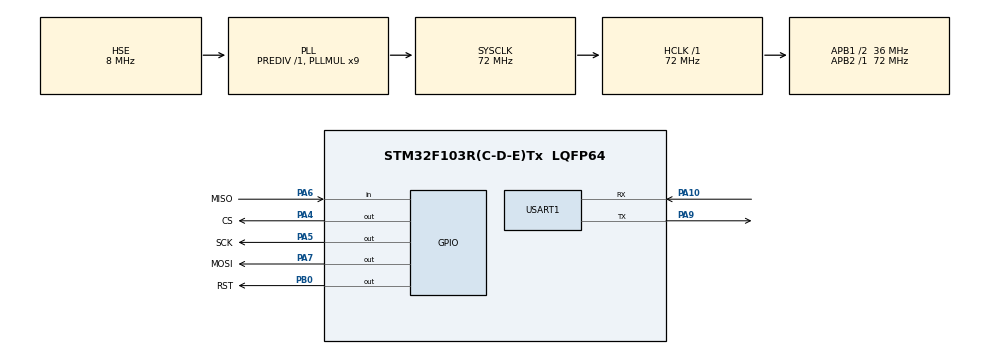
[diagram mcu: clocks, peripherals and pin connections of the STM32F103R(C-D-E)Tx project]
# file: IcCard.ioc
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Mcu.Family=STM32F1
Mcu.Name=STM32F103R(C-D-E)Tx
Mcu.Package=LQFP64
NVIC.PriorityGroup=NVIC_PRIORITYGROUP_4
PA10.Mode=Asynchronous
PA10.Signal=USART1_RX
PA13.Mode=Serial_Wire
PA13.Signal=SYS_JTMS-SWDIO
PA14.Mode=Serial_Wire
PA14.Signal=SYS_JTCK-SWCLK
PA4.GPIO_Label=CS
PA4.GPIO_Speed=GPIO_SPEED_FREQ_HIGH
PA4.PinState=GPIO_PIN_RESET
PA4.Signal=GPIO_Output
PA5.GPIO_Label=SCK
PA5.GPIO_Speed=GPIO_SPEED_FREQ_HIGH
PA5.Signal=GPIO_Output
PA6.GPIO_Label=MISO
PA6.Signal=GPIO_Input
PA7.GPIO_Label=MOSI
PA7.GPIO_Speed=GPIO_SPEED_FREQ_HIGH
PA7.Signal=GPIO_Output
PA9.Mode=Asynchronous
PA9.Signal=USART1_TX
PB0.GPIO_Label=RST
PB0.GPIO_Speed=GPIO_SPEED_FREQ_HIGH
PB0.Signal=GPIO_Output
PD0-OSC_IN.Mode=HSE-External-Oscillator
PD0-OSC_IN.Signal=RCC_OSC_IN
PD1-OSC_OUT.Mode=HSE-External-Oscillator
PD1-OSC_OUT.Signal=RCC_OSC_OUT
ProjectManager.HeapSize=0x200
ProjectManager.StackSize=0x400
ProjectManager.TargetToolchain=STM32CubeIDE
RCC.AHBFreq_Value=72000000
RCC.APB1CLKDivider=RCC_HCLK_DIV2
RCC.APB1Freq_Value=36000000
RCC.APB1TimFreq_Value=72000000
RCC.APB2Freq_Value=72000000
RCC.APB2TimFreq_Value=72000000
RCC.HCLKFreq_Value=72000000
RCC.PLLMUL=RCC_PLL_MUL9
RCC.PLLSourceVirtual=RCC_PLLSOURCE_HSE
RCC.SYSCLKFreq_VALUE=72000000
RCC.SYSCLKSource=RCC_SYSCLKSOURCE_PLLCLK
RCC.USBFreq_Value=72000000
USART1.VirtualMode=VM_ASYNC
board=custom

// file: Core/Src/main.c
/* USER CODE BEGIN Header */
/**
 ******************************************************************************
 * @file           : main.c
 * @brief          : Main program body
 ******************************************************************************
 * @attention
 *
 * <h2><center>&copy; Copyright (c) 2021 STMicroelectronics.
 * All rights reserved.</center></h2>
 *
 * This software component is licensed by ST under BSD 3-Clause license,
 * the "License"; You may not use this file except in compliance with the
 * License. You may obtain a copy of the License at:
 *                        opensource.org/licenses/BSD-3-Clause
 *
 ******************************************************************************
 */
/* USER CODE END Header */
#include "main.h"
#include "gpio.h"
#include "rc522_config.h"
#include "rc522_function.h"
#include "stdio.h"
#include "usart.h"
#include <stdbool.h>

void SystemClock_Config(void);

/* USER CODE BEGIN 0 */
void IC_test(void) {
  uint8_t cStr[30];
  uint8_t ucArray_ID[4] = {0}; //先后存放IC卡的类型和UID(IC卡序列号)
  uint8_t ucStatusReturn;      //返回状态
  static uint8_t ucLineCount = 0;

  while (1) {
    if ((ucStatusReturn = PcdRequest(PICC_REQALL, ucArray_ID)) != MI_OK) //寻卡
    {
      ucStatusReturn = PcdRequest(PICC_REQALL, ucArray_ID); //若失败再次寻卡
    }
    if (ucStatusReturn == MI_OK) {
      if (PcdAnticoll(ucArray_ID) ==
          MI_OK) //防冲撞（当有多张卡进入读写器操作范围时，防冲突机制会从其中选择一张进行操作）
      {
        sprintf(cStr, "The Card ID is: %02X%02X%02X%02X", ucArray_ID[0],
                ucArray_ID[1], ucArray_ID[2], ucArray_ID[3]);

        printf("%s\r\n", cStr);

        if (ucLineCount == 0)

          ucLineCount++;

        if (ucLineCount == 17)
          ucLineCount = 0;
      }
    }
  }
}
/* USER CODE END 0 */

int main(void) {

  /* MCU Configuration--------------------------------------------------------*/

  /* Reset of all peripherals, Initializes the Flash interface and the Systick.
   */
  HAL_Init();

  /* Configure the system clock */
  SystemClock_Config();

  /* Initialize all configured peripherals */
  MX_GPIO_Init();
  MX_USART1_UART_Init();
  /* USER CODE BEGIN 2 */
  RC522_Init(); // RC522模块所需外设的初始化配置
  printf("WF-RC522 Test\n");
  PcdReset();
  M500PcdConfigISOType('A'); //设置工作方式
  /* USER CODE END 2 */

  /* Infinite loop */
  while (1) {

    /* USER CODE BEGIN 3 */

    IC_test();
  }
  /* USER CODE END 3 */
}

void SystemClock_Config(void) {
  RCC_OscInitTypeDef RCC_OscInitStruct = {0};
  RCC_ClkInitTypeDef RCC_ClkInitStruct = {0};

  /** Initializes the RCC Oscillators according to the specified parameters
   * in the RCC_OscInitTypeDef structure.
   */
  RCC_OscInitStruct.OscillatorType = RCC_OSCILLATORTYPE_HSE;
  RCC_OscInitStruct.HSEState = RCC_HSE_ON;
  RCC_OscInitStruct.HSEPredivValue = RCC_HSE_PREDIV_DIV1;
  RCC_OscInitStruct.HSIState = RCC_HSI_ON;
  RCC_OscInitStruct.PLL.PLLState = RCC_PLL_ON;
  RCC_OscInitStruct.PLL.PLLSource = RCC_PLLSOURCE_HSE;
  RCC_OscInitStruct.PLL.PLLMUL = RCC_PLL_MUL9;
  if (HAL_RCC_OscConfig(&RCC_OscInitStruct) != HAL_OK) {
    Error_Handler();
  }
  /** Initializes the CPU, AHB and APB buses clocks
   */
  RCC_ClkInitStruct.ClockType = RCC_CLOCKTYPE_HCLK | RCC_CLOCKTYPE_SYSCLK |
                                RCC_CLOCKTYPE_PCLK1 | RCC_CLOCKTYPE_PCLK2;
  RCC_ClkInitStruct.SYSCLKSource = RCC_SYSCLKSOURCE_PLLCLK;
  RCC_ClkInitStruct.AHBCLKDivider = RCC_SYSCLK_DIV1;
  RCC_ClkInitStruct.APB1CLKDivider = RCC_HCLK_DIV2;
  RCC_ClkInitStruct.APB2CLKDivider = RCC_HCLK_DIV1;

  if (HAL_RCC_ClockConfig(&RCC_ClkInitStruct, FLASH_LATENCY_2) != HAL_OK) {
    Error_Handler();
  }
}

void Error_Handler(void) {
}

#ifdef USE_FULL_ASSERT
/**
 * @brief  Reports the name of the source file and the source line number
 *         where the assert_param error has occurred.
 * @param  file: pointer to the source file name
 * @param  line: assert_param error line source number
 * @retval None
 */
void assert_failed(uint8_t *file, uint32_t line) {
  /* USER CODE BEGIN 6 */
  /* User can add his own implementation to report the file name and line
     number,
     tex: printf("Wrong parameters value: file %s on line %d\r\n", file, line)
   */
  /* USER CODE END 6 */
}
#endif /* USE_FULL_ASSERT */

/************************ (C) COPYRIGHT STMicroelectronics *****END OF FILE****/
